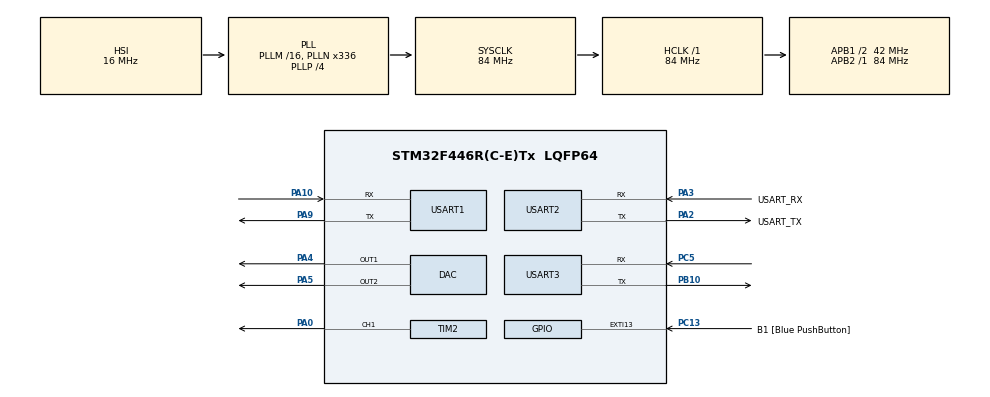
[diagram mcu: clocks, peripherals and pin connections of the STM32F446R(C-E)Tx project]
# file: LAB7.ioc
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DAC.DAC_Trigger=DAC_TRIGGER_T6_TRGO
DAC.DAC_Trigger2=DAC_TRIGGER_T7_TRGO
DAC.WaveGeneration=DISABLE
Dma.DAC1.0.Direction=DMA_MEMORY_TO_PERIPH
Dma.DAC1.0.FIFOMode=DMA_FIFOMODE_DISABLE
Dma.DAC1.0.Instance=DMA1_Stream5
Dma.DAC1.0.MemDataAlignment=DMA_MDATAALIGN_WORD
Dma.DAC1.0.MemInc=DMA_MINC_ENABLE
Dma.DAC1.0.Mode=DMA_CIRCULAR
Dma.DAC1.0.PeriphDataAlignment=DMA_PDATAALIGN_WORD
Dma.DAC1.0.PeriphInc=DMA_PINC_DISABLE
Dma.DAC1.0.Priority=DMA_PRIORITY_LOW
Dma.DAC2.1.Direction=DMA_MEMORY_TO_PERIPH
Dma.DAC2.1.FIFOMode=DMA_FIFOMODE_DISABLE
Dma.DAC2.1.Instance=DMA1_Stream6
Dma.DAC2.1.MemDataAlignment=DMA_MDATAALIGN_WORD
Dma.DAC2.1.MemInc=DMA_MINC_ENABLE
Dma.DAC2.1.Mode=DMA_CIRCULAR
Dma.DAC2.1.PeriphDataAlignment=DMA_PDATAALIGN_WORD
Dma.DAC2.1.PeriphInc=DMA_PINC_DISABLE
Dma.DAC2.1.Priority=DMA_PRIORITY_LOW
Dma.Request0=DAC1
Dma.Request1=DAC2
Mcu.Family=STM32F4
Mcu.Name=STM32F446R(C-E)Tx
Mcu.Package=LQFP64
NVIC.DMA1_Stream5_IRQn=true\:0\:0\:false\:false\:true\:false\:true\:true
NVIC.DMA1_Stream6_IRQn=true\:0\:0\:false\:false\:true\:false\:true\:true
NVIC.PriorityGroup=NVIC_PRIORITYGROUP_0
NVIC.TIM2_IRQn=true\:0\:0\:false\:false\:true\:true\:true\:true
NVIC.TIM7_IRQn=true\:0\:0\:false\:false\:true\:true\:true\:true
NVIC.USART1_IRQn=true\:0\:0\:false\:false\:true\:true\:true\:true
NVIC.USART2_IRQn=true\:0\:0\:false\:false\:true\:true\:true\:true
PA0-WKUP.Signal=S_TIM2_CH1_ETR
PA10.Mode=Asynchronous
PA10.Signal=USART1_RX
PA13.GPIO_Label=TMS
PA13.Mode=Serial_Wire
PA13.Signal=SYS_JTMS-SWDIO
PA14.GPIO_Label=TCK
PA14.Mode=Serial_Wire
PA14.Signal=SYS_JTCK-SWCLK
PA2.GPIO_Label=USART_TX
PA2.Mode=Asynchronous
PA2.Signal=USART2_TX
PA3.GPIO_Label=USART_RX
PA3.Mode=Asynchronous
PA3.Signal=USART2_RX
PA4.Signal=COMP_DAC1_group
PA5.Signal=COMP_DAC2_group
PA9.Mode=Asynchronous
PA9.Signal=USART1_TX
PB10.Mode=Asynchronous
PB10.Signal=USART3_TX
PB3.GPIO_Label=SWO
PB3.Signal=SYS_JTDO-SWO
PC13.GPIO_Label=B1 [Blue PushButton]
PC13.GPIO_ModeDefaultEXTI=GPIO_MODE_IT_FALLING
PC13.Signal=GPXTI13
PC14-OSC32_IN.Mode=LSE-External-Oscillator
PC14-OSC32_IN.Signal=RCC_OSC32_IN
PC15-OSC32_OUT.Mode=LSE-External-Oscillator
PC15-OSC32_OUT.Signal=RCC_OSC32_OUT
PC5.Mode=Asynchronous
PC5.Signal=USART3_RX
PH0-OSC_IN.Mode=HSE-External-Oscillator
PH0-OSC_IN.Signal=RCC_OSC_IN
PH1-OSC_OUT.Mode=HSE-External-Oscillator
PH1-OSC_OUT.Signal=RCC_OSC_OUT
ProjectManager.HeapSize=0x200
ProjectManager.StackSize=0x400
ProjectManager.TargetToolchain=STM32CubeIDE
RCC.48MHZClocksFreq_Value=84000000
RCC.AHBFreq_Value=84000000
RCC.APB1CLKDivider=RCC_HCLK_DIV2
RCC.APB1Freq_Value=42000000
RCC.APB1TimFreq_Value=84000000
RCC.APB2Freq_Value=84000000
RCC.APB2TimFreq_Value=84000000
RCC.CortexFreq_Value=84000000
RCC.FLatency-AdvancedSettings=FLASH_LATENCY_2
RCC.HCLKFreq_Value=84000000
RCC.HSE_VALUE=8000000
RCC.HSI_VALUE=16000000
RCC.PLLN=336
RCC.PLLP=RCC_PLLP_DIV4
RCC.SYSCLKFreq_VALUE=84000000
RCC.SYSCLKSource=RCC_SYSCLKSOURCE_PLLCLK
RCC.USBFreq_Value=168000000
RCC.VCOOutputFreq_Value=336000000
SH.COMP_DAC1_group.0=DAC_OUT1,DAC_OUT1
SH.COMP_DAC2_group.0=DAC_OUT2,DAC_OUT2
SH.S_TIM2_CH1_ETR.0=TIM2_CH1,PWM Generation1 CH1
TIM2.Channel-PWM\ Generation1\ CH1=TIM_CHANNEL_1
TIM2.Period=100
TIM2.Pulse-PWM\ Generation1\ CH1=50
TIM6.Period=99
TIM6.Prescaler=0
TIM6.TIM_MasterOutputTrigger=TIM_TRGO_UPDATE
TIM7.Period=99
TIM7.TIM_MasterOutputTrigger=TIM_TRGO_UPDATE
USART1.VirtualMode=VM_ASYNC
USART2.VirtualMode=VM_ASYNC
USART3.VirtualMode=VM_ASYNC
VP_TIM2_VS_ClockSourceINT.Mode=Internal
VP_TIM6_VS_ClockSourceINT.Mode=Enable_Timer
VP_TIM7_VS_ClockSourceINT.Mode=Enable_Timer
board=NUCLEO-F446RE

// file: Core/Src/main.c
/* USER CODE BEGIN Header */
/**
  ******************************************************************************
  * @file           : main.c
  * @brief          : Main program body
  ******************************************************************************
  * @attention
  *
  * Copyright (c) 2026 STMicroelectronics.
  * All rights reserved.
  *
  * This software is licensed under terms that can be found in the LICENSE file
  * in the root directory of this software component.
  * If no LICENSE file comes with this software, it is provided AS-IS.
  *
  ******************************************************************************
  */
/* USER CODE END Header */
#include "main.h"

/* USER CODE BEGIN Includes */
#include <stdio.h>
#include <string.h>
#include <math.h>
#include <stdlib.h>
#include "Notes.h"
/* USER CODE END Includes */

/* USER CODE BEGIN PD */
#define size 128
#define pi 3.1415926
#define TIM_FREQ 84000000
/* USER CODE END PD */

DAC_HandleTypeDef hdac;
DMA_HandleTypeDef hdma_dac1;
DMA_HandleTypeDef hdma_dac2;

TIM_HandleTypeDef htim2;
TIM_HandleTypeDef htim6;
TIM_HandleTypeDef htim7;

UART_HandleTypeDef huart1;
UART_HandleTypeDef huart2;
UART_HandleTypeDef huart3;

/* USER CODE BEGIN PV */
//Variables de comunicacion
uint8_t rxByte1;
uint8_t rxIndex1 = 0;
uint8_t buffer1[20];

// Variable global — inicializar en 8 igual que nivelR
volatile uint8_t nivelR= 8;
volatile uint8_t nivelAnterior = 8;  // ← sacar del callback, hacerla global
uint8_t doLoading = 0;
uint8_t moveR = 0;
char eventR = 'N';
char skinR = 'S';

uint8_t newSonicData = 0;

//Variables de comunicacion

uint8_t rxData;
uint32_t Ysine[size];
uint32_t Ysilencio[size];
uint32_t Ysine_scaled[size];
uint16_t Ynoise[size];

//FUnciones de canciones no bloqueantes.
// --- Motor de canción BG no bloqueante (DAC_CHANNEL_1) ---
uint32_t *song_notes    = NULL;
uint16_t *song_duration = NULL;
uint16_t  song_size     = 0;
uint16_t  song_index    = 0;
uint32_t  note_tick     = 0;
uint32_t  note_ticks_on = 0;
uint32_t  note_ticks_off= 0;
uint8_t   note_phase    = 0;
uint8_t   song_playing  = 0;
uint8_t   song_slot     = 0;

/*
// --- Motor FX no bloqueante (DAC_CHANNEL_2) ---
// Motor FX no bloqueante con SysTick
uint32_t fx_last_tick = 0;   // timestamp HAL_GetTick() del último evento FX
uint32_t  fx_tick       = 0;
uint32_t  fx_ticks_on   = 0;
uint32_t  fx_ticks_off  = 0;
uint8_t   fx_phase      = 0;   // 0=nota, 1=silencio
uint8_t   fx_playing    = 0;
uint16_t  fx_index      = 0;
uint16_t  fx_size       = 0;
uint32_t *fx_notes      = NULL;
uint16_t *fx_duration   = NULL;

// Flag para efectos de un solo disparo (sweep/noise)
uint8_t   fx_event      = 0;   // 0=nada, 1=StarPower, 2=footstep, etc.
*/

/* USER CODE END PV */

void SystemClock_Config(void);
static void MX_GPIO_Init(void);
static void MX_DMA_Init(void);
static void MX_USART2_UART_Init(void);
static void MX_TIM2_Init(void);
static void MX_DAC_Init(void);
static void MX_TIM6_Init(void);
static void MX_USART1_UART_Init(void);
static void MX_TIM7_Init(void);
static void MX_USART3_UART_Init(void);
/* USER CODE BEGIN PFP */
void playNotePWM(uint16_t psc);
void playMario();
void generarSin();
void playToneDAC(uint32_t ARR, uint8_t SDac);
void playSon(uint32_t cancion[], uint16_t duracion[], uint16_t sizeM);
void setAmplitude(float gain);
void swordSlash(uint32_t frequencyI, uint32_t frequencyF,uint8_t sweepA,uint8_t sweepD);
void unsheath();
void StarPower();
void impact();
void generateNoise();
void loading_soft();
void loading_tick_progressive();
void loading_tick_pro();
void loading_tick_complete();
void loading_brbr();
void footstep();
void blockHit(void);
void Song_Start(uint32_t *notes, uint16_t *duration, uint16_t sizeO);
void Song_Stop(void);
/* USER CODE END PFP */

/* USER CODE BEGIN 0 */
void generarSin(){
    for (int x = 0; x < size; x++){
    	Ysine[x] = (uint32_t)(2048+2047 * sin(2.0 * pi * x / size));
    	Ysilencio[x] = 0;
    }
}

void generateNoise()
{
    for(int i = 0; i < size; i++)
    {
        Ynoise[i] = rand() % 4096; // DAC 12 bits
    }
}

// Corrección — silencio real:
void playToneDAC(uint32_t ARR, uint8_t sDac)
{

	if (sDac==1){
	    if(ARR == 0)
	    {
	        HAL_TIM_Base_Stop(&htim6);
	        HAL_DAC_Stop_DMA(&hdac, DAC_CHANNEL_1);

	        __HAL_TIM_SET_AUTORELOAD(&htim6, 99);
	        __HAL_TIM_SET_COUNTER(&htim6, 0);
	        HAL_TIM_Base_Start(&htim6);
	        HAL_DAC_Start_DMA(&hdac, DAC_CHANNEL_1,
	                          (uint32_t*)Ysilencio, size, DAC_ALIGN_12B_R);
	        HAL_DAC_Start_DMA(&hdac, DAC_CHANNEL_1,
                    (uint32_t*)Ysilencio, size, DAC_ALIGN_12B_R);

	        return;
	    }

	    HAL_TIM_Base_Stop(&htim6);
	    HAL_DAC_Stop_DMA(&hdac, DAC_CHANNEL_1);

	    __HAL_TIM_SET_AUTORELOAD(&htim6, ARR);
	    __HAL_TIM_SET_COUNTER(&htim6, 0);

	    HAL_TIM_Base_Start(&htim6);
	    HAL_DAC_Start_DMA(&hdac, DAC_CHANNEL_1,
	                      (uint32_t*)Ysine, size, DAC_ALIGN_12B_R);
	}
	else if (sDac==2){
	    if(ARR == 0)
	    {
	        HAL_TIM_Base_Stop(&htim7);
	        HAL_DAC_Stop_DMA(&hdac, DAC_CHANNEL_2);

	        __HAL_TIM_SET_AUTORELOAD(&htim7, 99);
	        __HAL_TIM_SET_COUNTER(&htim7, 0);
	        HAL_TIM_Base_Start(&htim7);
	        HAL_DAC_Start_DMA(&hdac, DAC_CHANNEL_2,
	                          (uint32_t*)Ysilencio, size, DAC_ALIGN_12B_R);
	        return;
	    }

	    HAL_TIM_Base_Stop(&htim7);
	    HAL_DAC_Stop_DMA(&hdac, DAC_CHANNEL_2);

	    __HAL_TIM_SET_AUTORELOAD(&htim7, ARR);
	    __HAL_TIM_SET_COUNTER(&htim7, 0);

	    HAL_TIM_Base_Start(&htim7);
	    HAL_DAC_Start_DMA(&hdac, DAC_CHANNEL_2,
	                      (uint32_t*)Ysine, size, DAC_ALIGN_12B_R);
	}
}

void playSon(uint32_t cancion[], uint16_t duracion[], uint16_t sizeM)
{
    // Arrancar con silencio inicialmente
    playToneDAC(0, 1);

    for(int i = 0; i < sizeM; i++)
    {
        uint16_t dur_nota     = duracion[i] * 90 / 100UL;
        uint16_t dur_silencio = duracion[i] * 10 / 100UL;
        if(dur_silencio < 25) dur_silencio = 25;

        // Tocar nota
        playToneDAC(cancion[i],1);
        HAL_Delay(dur_nota);

        // Silencio entre notas con tabla plana
        playToneDAC(0,1);
        HAL_Delay(dur_silencio);
    }

    // Al final dejar en silencio
    playToneDAC(0,1);
}

void setAmplitude(float gain)
{
    for(int i = 0; i < size; i++)
    {
        Ysine_scaled[i] = Ysine[i] * gain;
    }
}

void swordSlash(uint32_t frequencyI, uint32_t frequencyF,uint8_t sweepA,uint8_t sweepD)
{
    for(uint32_t arr = frequencyI; arr < frequencyF; arr += sweepA)
    {
    	float gain = (float)(arr - frequencyI) / 2200.0f; // ataque
		setAmplitude(gain);
		playToneDAC(arr,2);
		HAL_Delay(2);
    }

    for(uint32_t arr = frequencyF; arr > frequencyI; arr -= sweepD)
    {
    	float gain = (float)(arr - frequencyI) / 2500.0f; // decay
		setAmplitude(gain);
		playToneDAC(arr,2);
		HAL_Delay(2);
    }

    playToneDAC(0,2); // silencio
}

void unsheath()
{
    for(uint32_t arr = 3000; arr > 500; arr -= 100)
    {
        playToneDAC(arr,2);
        HAL_Delay(2);
    }

    for(uint32_t arr = 500; arr < 1500; arr += 30)
    {
        playToneDAC(arr,2);
        HAL_Delay(3);
    }

    playToneDAC(0,2);
}

void StarPower()
{
    /*playToneDAC(2000);
    HAL_Delay(30);

    playToneDAC(1000);
    HAL_Delay(40);

    playToneDAC(0);*/
	// 1. IMPACTO (golpe inicial)
	for(uint32_t arr = 500; arr < 800; arr += 20)
	{
		playToneDAC(arr,2);
		HAL_Delay(2);
	}

	// 2. CUERPO (peso del pie)
	for(uint32_t arr = 800; arr > 200; arr -= 25)
	{
		playToneDAC(arr,2);
		HAL_Delay(3);
	}

	// 3. FRICCIÓN (ruido)
	generateNoise(); // tu función de ruido
	HAL_DAC_Stop_DMA(&hdac, DAC_CHANNEL_1);

	HAL_DAC_Start_DMA(&hdac, DAC_CHANNEL_1,
					  (uint32_t*)Ynoise, size, DAC_ALIGN_12B_R);

	HAL_Delay(15);

	playToneDAC(0,2); // silencio
}

void impact()
{
    for(uint32_t arr = 500; arr < 3000; arr += 200)
    {
        playToneDAC(arr,2);
        HAL_Delay(2);
    }

    playToneDAC(0,2);
}

void Disparos()
{
	for(int i = 0; i < 3; i++)
	{
		// sweep
		for(uint32_t arr = 2500; arr > 1000; arr -= 80)
		{
			playToneDAC(arr,2);
			HAL_Delay(5);
		}

		// ruido corto (textura)
		generateNoise();
		HAL_DAC_Start_DMA(&hdac, DAC_CHANNEL_1,
						  (uint32_t*)Ynoise, size, DAC_ALIGN_12B_R);

		HAL_Delay(20);
	}

	playToneDAC(0,2);
}

void loading_tick_progressive()
{
    uint16_t tone = 1200;

    int delay_time = 120; // empieza lento

    for(int i = 0; i < 30; i++)
    {
        playToneDAC(tone,2);
        HAL_Delay(10); // tic corto

        playToneDAC(0,2);
        HAL_Delay(delay_time);

        // acelerar progresivamente
        if(delay_time > 20)
            delay_time -= 3;
    }
}

void loading_tick_pro()
{
    uint32_t base = 900;
    int delay_time = 120;

    for(int i = 0; i < 50; i++)
    {
        uint32_t tone = base + i * 10; // sube tono

        playToneDAC(tone,2);
        HAL_Delay(8);

        playToneDAC(0,2);
        HAL_Delay(delay_time);

        if(delay_time > 10)
            delay_time -= 2;
    }
}

void loading_tick_complete()
{
    loading_tick_pro();

    // sonido final
    playToneDAC(800,2);
    HAL_Delay(100);

    playToneDAC(600,2);
    HAL_Delay(150);

    playToneDAC(0,2);
}

void loading_brbr()
{
    uint32_t tone = 1000;

    for(int i = 0; i < 20; i++)
    {
        // BR
        playToneDAC(tone,2);
        HAL_Delay(20);

        playToneDAC(0,2);
        HAL_Delay(20);

        // BR (segundo pulso)
        playToneDAC(tone,2);
        HAL_Delay(20);

        playToneDAC(0,2);

        // pausa entre grupos
        HAL_Delay(100);
    }
}

void footstep()
{ // 1. IMPACTO — ataque rápido ascendente (golpe del talón)
    for(uint32_t arr = 800; arr < 1400; arr += 60)
    {
        playToneDAC(arr,2);
        HAL_Delay(1);
    }

    // 2. PESO — caída de frecuencia (peso del cuerpo sobre el pie)
    for(uint32_t arr = 1400; arr > 300; arr -= 40)
    {
        playToneDAC(arr,2);
        HAL_Delay(2);
    }

    // 3. TEXTURA — ruido de fricción del suelo
    generateNoise();
    HAL_DAC_Stop_DMA(&hdac, DAC_CHANNEL_1);
    HAL_DAC_Start_DMA(&hdac, DAC_CHANNEL_1,
                      (uint32_t*)Ynoise, size, DAC_ALIGN_12B_R);
    HAL_Delay(20);

    // 4. SILENCIO — separación entre pasos
    playToneDAC(0,2);
    HAL_Delay(180);
}

void blockHit(void)
{
    // 1. IMPACTO — golpe seco descendente
    for(uint32_t arr = ARR_La4; arr < ARR_Re3; arr += 120)
    {
        playToneDAC(arr, 2);
        HAL_Delay(2);
    }

    // 2. REBOTE — sube un poco (sensación de choque)
    for(uint32_t arr = ARR_Re3; arr > ARR_Sol3; arr -= 60)
    {
        playToneDAC(arr, 2);
        HAL_Delay(2);
    }

    // 3. CORTE — silencio brusco tipo arcade
    playToneDAC(0, 2);
    HAL_Delay(20);

    // 4. BUZZ corto — textura de bloque sólido
    for(int i = 0; i < 3; i++)
    {
        playToneDAC(ARR_Do4, 2);
        HAL_Delay(8);
        playToneDAC(0, 2);
        HAL_Delay(8);
    }

    playToneDAC(0, 2);
}

void Song_Start(uint32_t *notes, uint16_t *duration, uint16_t sizeO)
{

    song_notes    = notes;
    song_duration = duration;
    song_size     = sizeO;
    song_index    = 0;
    note_tick     = 0;
    note_phase    = 0;
    song_playing  = 1;

    // Calcular duración primera nota
    uint16_t dur = duration[0];
    note_ticks_on  = dur * 90 / 100;
    note_ticks_off = dur * 10 / 100;
    if (note_ticks_off < 25) note_ticks_off = 25;

    playToneDAC(notes[0],1);

}

void Song_Stop(void)
{
    song_playing = 0;
    song_notes   = NULL;
    playToneDAC(0,1);
}
/*
// --- Tono en DAC_CHANNEL_2 (FX) ---
// Tono en DAC_CHANNEL_2 — TIM7
void playToneDAC_FX(uint32_t ARR)
{
    HAL_DAC_Stop_DMA(&hdac, DAC_CHANNEL_2);
    HAL_TIM_Base_Stop(&htim7);

    if (ARR == 0)
    {
        __HAL_TIM_SET_AUTORELOAD(&htim7, 99);
        __HAL_TIM_SET_COUNTER(&htim7, 0);
        HAL_TIM_Base_Start(&htim7);
        HAL_DAC_Start_DMA(&hdac, DAC_CHANNEL_2,
                          (uint32_t*)Ysilencio, size, DAC_ALIGN_12B_R);
        return;
    }

    __HAL_TIM_SET_AUTORELOAD(&htim7, ARR);
    __HAL_TIM_SET_COUNTER(&htim7, 0);
    HAL_TIM_Base_Start(&htim7);
    HAL_DAC_Start_DMA(&hdac, DAC_CHANNEL_2,
                      (uint32_t*)Ysine, size, DAC_ALIGN_12B_R);
}

// --- Iniciar canción FX no bloqueante en CH2 ---
void FX_Start(uint32_t *notes, uint16_t *duration, uint16_t sizeO)
{
    fx_notes    = notes;
    fx_duration = duration;
    fx_size     = sizeO;
    fx_index    = 0;
    fx_phase    = 0;
    fx_playing  = 1;

    uint16_t dur   = duration[0];
    fx_ticks_on    = dur * 90 / 100;
    fx_ticks_off   = dur * 10 / 100;
    if (fx_ticks_off < 25) fx_ticks_off = 25;

    fx_last_tick = HAL_GetTick();   // anclar timestamp
    playToneDAC_FX(notes[0]);
}

void FX_Stop(void)
{
    fx_playing = 0;
    fx_notes   = NULL;
    playToneDAC_FX(0);
}
*/
/* USER CODE END 0 */

int main(void)
{

  /* MCU Configuration--------------------------------------------------------*/

  /* Reset of all peripherals, Initializes the Flash interface and the Systick. */
  HAL_Init();

  /* Configure the system clock */
  SystemClock_Config();

  /* Initialize all configured peripherals */
  MX_GPIO_Init();
  MX_DMA_Init();
  MX_USART2_UART_Init();
  HAL_UART_Transmit(&huart2, (uint8_t*)"VIVO\r\n", 6, 1000);
  MX_TIM2_Init();
  MX_DAC_Init();
  MX_TIM6_Init();
  MX_USART1_UART_Init();
  MX_TIM7_Init();
  MX_USART3_UART_Init();

  /* USER CODE BEGIN 2 */
  HAL_UART_Transmit(&huart2, (uint8_t*)"VIVO\r\n", 6, 1000);

  generarSin();
  HAL_UART_Transmit(&huart2, (uint8_t*)"SIN OK\r\n", 8, 1000);

  HAL_UART_Receive_IT(&huart1, &rxByte1, 1);
  HAL_UART_Transmit(&huart2, (uint8_t*)"UART1 OK\r\n", 10, 1000);

  /* Loading ANTES de TIM2 para evitar interferencia */
  //loading_tick_complete();
  HAL_UART_Transmit(&huart2, (uint8_t*)"LOADING OK\r\n", 12, 1000);

  /* TIM2 arranca despues del loading */
  HAL_TIM_Base_Start_IT(&htim2);
  HAL_UART_Transmit(&huart2, (uint8_t*)"TIM2 OK\r\n", 9, 1000);

  //Song_Start(mario_notes, mario_duration, mario_size);
  HAL_UART_Transmit(&huart2, (uint8_t*)"SONG OK\r\n", 9, 1000);
  /* USER CODE END 2 */

  /* Infinite loop */
  while (1)
  {

    /* USER CODE BEGIN 3 */
	  /* Cambio de nivel detectado */
	  if (nivelR != nivelAnterior)
	  {
	      /* Detener cancion actual inmediatamente */
	      Song_Stop();
	      HAL_TIM_Base_Stop_IT(&htim2);

	      /* Actualizar nivel */
	      nivelR = nivelAnterior;
	      song_slot = 0;

	      /* Loading tick del nuevo nivel */
	      loading_tick_complete();

	      /* Reactivar timer y arrancar cancion del nuevo nivel */
	      HAL_TIM_Base_Start_IT(&htim2);

	      switch (nivelR)
	      {
	      case 0: Song_Start(mario_notes,          mario_duration,          mario_size);          break;
	      case 1: Song_Start(Overworld_1_notes,    Overworld_1_duration,    Overworld_1_size);    break;
	      case 2: Song_Start(Fantasmic_notes,      Fantasmic_duration,      Fantasmic_size);      break;
	      case 3: Song_Start(Final_Battle_2_notes, Final_Battle_2_duration, Final_Battle_2_size); break;
	      }
	  }

	  /* Efectos de sonido por eventos de jugadores — intactos */
	  if (newSonicData == 1)
	  {
	      newSonicData = 0;

	      if (!song_playing)
	      {
	          song_slot = 0;
	          switch (nivelR)
	          {
	          case 0:
	          case 1: Song_Start(Overworld_1_notes,    Overworld_1_duration,    Overworld_1_size);    break;
	          case 2: Song_Start(Fantasmic_notes,      Fantasmic_duration,      Fantasmic_size);      break;
	          case 3: Song_Start(Final_Battle_2_notes, Final_Battle_2_duration, Final_Battle_2_size); break;
	          }
	      }

	      if (moveR == 1 && eventR != 'K' && skinR == '0')
	      {
	          footstep();
	      }

	      switch (eventR)
	      {
	      case 'C': break;
	      case 'E': break;
	      case 'M':
	          if (skinR == '0')      { HAL_UART_Transmit(&huart1, (uint8_t*)"K\n", 2, 100); }
	          else if (skinR == '1') { HAL_UART_Transmit(&huart3, (uint8_t*)"K\n", 2, 100); }
	          eventR = 'N';
	          break;
	      case 'S': break;
	      case 'L': break;
	      case 'K':
	          blockHit();
	          HAL_UART_Transmit(&huart1, (uint8_t*)"K\n", 2, 100);
	          eventR = 'N';
	          break;
	      case 'N':
	      default: break;
	      }
	  }

	  /* Cancion de fondo termino — arrancar siguiente */
	  if (newSonicData == 2)
	  {
	      newSonicData = 0;
	      song_slot++;

	      switch (nivelR)
	      {
	      case 0: Song_Start(mario_notes, mario_duration, mario_size); break;
	      case 1:
	          switch (song_slot % 3)
	          {
	          case 0: Song_Start(Overworld_1_notes,       Overworld_1_duration,       Overworld_1_size);       break;
	          case 1: Song_Start(labrynth_crystal_notes,  labrynth_crystal_duration,  labrynth_crystal_size);  break;
	          case 2: Song_Start(Electrical_notes,        Electrical_duration,        Electrical_size);        break;
	          }
	          break;
	      case 2:
	          switch (song_slot % 3)
	          {
	          case 0: Song_Start(Fantasmic_notes, Fantasmic_duration, Fantasmic_size); break;
	          case 1: Song_Start(Ganyu_notes,     Ganyu_duration,     Ganyu_size);     break;
	          case 2: Song_Start(LOTR_notes,      LOTR_duration,      LOTR_size);      break;
	          }
	          break;
	      case 3:
	          switch (song_slot % 3)
	          {
	          case 0: Song_Start(Final_Battle_2_notes, Final_Battle_2_duration, Final_Battle_2_size); break;
	          case 1: Song_Start(DuelFates_notes,      DuelFates_duration,      DuelFates_size);      break;
	          case 2: Song_Start(Jurassic_notes,       Jurassic_duration,       Jurassic_size);       break;
	          }
	          break;
	      }
	  }

  }
  /* USER CODE END 3 */
}

void SystemClock_Config(void)
{
  RCC_OscInitTypeDef RCC_OscInitStruct = {0};
  RCC_ClkInitTypeDef RCC_ClkInitStruct = {0};

  /** Configure the main internal regulator output voltage
  */
  __HAL_RCC_PWR_CLK_ENABLE();
  __HAL_PWR_VOLTAGESCALING_CONFIG(PWR_REGULATOR_VOLTAGE_SCALE3);

  /** Initializes the RCC Oscillators according to the specified parameters
  * in the RCC_OscInitTypeDef structure.
  */
  RCC_OscInitStruct.OscillatorType = RCC_OSCILLATORTYPE_HSI;
  RCC_OscInitStruct.HSIState = RCC_HSI_ON;
  RCC_OscInitStruct.HSICalibrationValue = RCC_HSICALIBRATION_DEFAULT;
  RCC_OscInitStruct.PLL.PLLState = RCC_PLL_ON;
  RCC_OscInitStruct.PLL.PLLSource = RCC_PLLSOURCE_HSI;
  RCC_OscInitStruct.PLL.PLLM = 16;
  RCC_OscInitStruct.PLL.PLLN = 336;
  RCC_OscInitStruct.PLL.PLLP = RCC_PLLP_DIV4;
  RCC_OscInitStruct.PLL.PLLQ = 2;
  RCC_OscInitStruct.PLL.PLLR = 2;
  if (HAL_RCC_OscConfig(&RCC_OscInitStruct) != HAL_OK)
  {
    Error_Handler();
  }

  /** Initializes the CPU, AHB and APB buses clocks
  */
  RCC_ClkInitStruct.ClockType = RCC_CLOCKTYPE_HCLK|RCC_CLOCKTYPE_SYSCLK
                              |RCC_CLOCKTYPE_PCLK1|RCC_CLOCKTYPE_PCLK2;
  RCC_ClkInitStruct.SYSCLKSource = RCC_SYSCLKSOURCE_PLLCLK;
  RCC_ClkInitStruct.AHBCLKDivider = RCC_SYSCLK_DIV1;
  RCC_ClkInitStruct.APB1CLKDivider = RCC_HCLK_DIV2;
  RCC_ClkInitStruct.APB2CLKDivider = RCC_HCLK_DIV1;

  if (HAL_RCC_ClockConfig(&RCC_ClkInitStruct, FLASH_LATENCY_2) != HAL_OK)
  {
    Error_Handler();
  }
}

static void MX_DAC_Init(void)
{

  DAC_ChannelConfTypeDef sConfig = {0};

  /** DAC Initialization
  */
  hdac.Instance = DAC;
  if (HAL_DAC_Init(&hdac) != HAL_OK)
  {
    Error_Handler();
  }

  /** DAC channel OUT1 config
  */
  sConfig.DAC_Trigger = DAC_TRIGGER_T6_TRGO;
  sConfig.DAC_OutputBuffer = DAC_OUTPUTBUFFER_ENABLE;
  if (HAL_DAC_ConfigChannel(&hdac, &sConfig, DAC_CHANNEL_1) != HAL_OK)
  {
    Error_Handler();
  }

  /** DAC channel OUT2 config
  */
  sConfig.DAC_Trigger = DAC_TRIGGER_T7_TRGO;
  if (HAL_DAC_ConfigChannel(&hdac, &sConfig, DAC_CHANNEL_2) != HAL_OK)
  {
    Error_Handler();
  }

}

static void MX_TIM2_Init(void)
{
  TIM_ClockConfigTypeDef sClockSourceConfig = {0};
  TIM_MasterConfigTypeDef sMasterConfig = {0};

  htim2.Instance = TIM2;
  /* Prescaler para tick de 1ms con APB1*2 = 84MHz */
  htim2.Init.Prescaler = 83;
  htim2.Init.CounterMode = TIM_COUNTERMODE_UP;
  /* Period para 1ms */
  htim2.Init.Period = 999;
  htim2.Init.ClockDivision = TIM_CLOCKDIVISION_DIV1;
  htim2.Init.AutoReloadPreload = TIM_AUTORELOAD_PRELOAD_DISABLE;
  if (HAL_TIM_Base_Init(&htim2) != HAL_OK)
  {
    Error_Handler();
  }
  /* Fuente interna */
  sClockSourceConfig.ClockSource = TIM_CLOCKSOURCE_INTERNAL;
  if (HAL_TIM_ConfigClockSource(&htim2, &sClockSourceConfig) != HAL_OK)
  {
    Error_Handler();
  }
  sMasterConfig.MasterOutputTrigger = TIM_TRGO_RESET;
  sMasterConfig.MasterSlaveMode = TIM_MASTERSLAVEMODE_DISABLE;
  if (HAL_TIMEx_MasterConfigSynchronization(&htim2, &sMasterConfig) != HAL_OK)
  {
    Error_Handler();
  }
}

static void MX_TIM6_Init(void)
{

  TIM_MasterConfigTypeDef sMasterConfig = {0};

  htim6.Instance = TIM6;
  htim6.Init.Prescaler = 0;
  htim6.Init.CounterMode = TIM_COUNTERMODE_UP;
  htim6.Init.Period = 99;
  htim6.Init.AutoReloadPreload = TIM_AUTORELOAD_PRELOAD_DISABLE;
  if (HAL_TIM_Base_Init(&htim6) != HAL_OK)
  {
    Error_Handler();
  }
  sMasterConfig.MasterOutputTrigger = TIM_TRGO_UPDATE;
  sMasterConfig.MasterSlaveMode = TIM_MASTERSLAVEMODE_DISABLE;
  if (HAL_TIMEx_MasterConfigSynchronization(&htim6, &sMasterConfig) != HAL_OK)
  {
    Error_Handler();
  }

}

static void MX_TIM7_Init(void)
{

  TIM_MasterConfigTypeDef sMasterConfig = {0};

  htim7.Instance = TIM7;
  htim7.Init.Prescaler = 0;
  htim7.Init.CounterMode = TIM_COUNTERMODE_UP;
  htim7.Init.Period = 99;
  htim7.Init.AutoReloadPreload = TIM_AUTORELOAD_PRELOAD_DISABLE;
  if (HAL_TIM_Base_Init(&htim7) != HAL_OK)
  {
    Error_Handler();
  }
  sMasterConfig.MasterOutputTrigger = TIM_TRGO_UPDATE;
  sMasterConfig.MasterSlaveMode = TIM_MASTERSLAVEMODE_DISABLE;
  if (HAL_TIMEx_MasterConfigSynchronization(&htim7, &sMasterConfig) != HAL_OK)
  {
    Error_Handler();
  }

}

static void MX_USART1_UART_Init(void)
{

  huart1.Instance = USART1;
  huart1.Init.BaudRate = 115200;
  huart1.Init.WordLength = UART_WORDLENGTH_8B;
  huart1.Init.StopBits = UART_STOPBITS_1;
  huart1.Init.Parity = UART_PARITY_NONE;
  huart1.Init.Mode = UART_MODE_TX_RX;
  huart1.Init.HwFlowCtl = UART_HWCONTROL_NONE;
  huart1.Init.OverSampling = UART_OVERSAMPLING_16;
  if (HAL_UART_Init(&huart1) != HAL_OK)
  {
    Error_Handler();
  }

}

static void MX_USART2_UART_Init(void)
{

  huart2.Instance = USART2;
  huart2.Init.BaudRate = 115200;
  huart2.Init.WordLength = UART_WORDLENGTH_8B;
  huart2.Init.StopBits = UART_STOPBITS_1;
  huart2.Init.Parity = UART_PARITY_NONE;
  huart2.Init.Mode = UART_MODE_TX_RX;
  huart2.Init.HwFlowCtl = UART_HWCONTROL_NONE;
  huart2.Init.OverSampling = UART_OVERSAMPLING_16;
  if (HAL_UART_Init(&huart2) != HAL_OK)
  {
    Error_Handler();
  }

}

static void MX_USART3_UART_Init(void)
{

  huart3.Instance = USART3;
  huart3.Init.BaudRate = 115200;
  huart3.Init.WordLength = UART_WORDLENGTH_8B;
  huart3.Init.StopBits = UART_STOPBITS_1;
  huart3.Init.Parity = UART_PARITY_NONE;
  huart3.Init.Mode = UART_MODE_TX_RX;
  huart3.Init.HwFlowCtl = UART_HWCONTROL_NONE;
  huart3.Init.OverSampling = UART_OVERSAMPLING_16;
  if (HAL_UART_Init(&huart3) != HAL_OK)
  {
    Error_Handler();
  }

}

static void MX_DMA_Init(void)
{

  /* DMA controller clock enable */
  __HAL_RCC_DMA1_CLK_ENABLE();

  /* DMA interrupt init */
  /* DMA1_Stream5_IRQn interrupt configuration */
  HAL_NVIC_SetPriority(DMA1_Stream5_IRQn, 0, 0);
  HAL_NVIC_EnableIRQ(DMA1_Stream5_IRQn);
  /* DMA1_Stream6_IRQn interrupt configuration */
  HAL_NVIC_SetPriority(DMA1_Stream6_IRQn, 0, 0);
  HAL_NVIC_EnableIRQ(DMA1_Stream6_IRQn);

}

static void MX_GPIO_Init(void)
{
  GPIO_InitTypeDef GPIO_InitStruct = {0};

  /* GPIO Ports Clock Enable */
  __HAL_RCC_GPIOC_CLK_ENABLE();
  __HAL_RCC_GPIOH_CLK_ENABLE();
  __HAL_RCC_GPIOA_CLK_ENABLE();
  __HAL_RCC_GPIOB_CLK_ENABLE();

  /*Configure GPIO pin : B1_Pin */
  GPIO_InitStruct.Pin = B1_Pin;
  GPIO_InitStruct.Mode = GPIO_MODE_IT_FALLING;
  GPIO_InitStruct.Pull = GPIO_NOPULL;
  HAL_GPIO_Init(B1_GPIO_Port, &GPIO_InitStruct);

}

/* USER CODE BEGIN 4 */
void HAL_UART_RxCpltCallback(UART_HandleTypeDef *huart)
{
    if (huart->Instance == USART1)
    {
        if (rxByte1 == '\n')
        {
            buffer1[rxIndex1] = '\0';
            rxIndex1 = 0;

            sscanf((char*)buffer1, "%d,%d,%c,%c",
                   &nivelAnterior, &moveR, &eventR, &skinR);

            newSonicData = 1;
        }
        else
        {
            if (rxIndex1 < sizeof(buffer1) - 1)
                buffer1[rxIndex1++] = rxByte1;
        }
        HAL_UART_Receive_IT(&huart1, &rxByte1, 1);
    }
}

void HAL_TIM_PeriodElapsedCallback(TIM_HandleTypeDef *htim)
{
    if (htim->Instance == TIM2)
    {
    	/*
        // DEBUG TEMPORAL — quitar después de confirmar
        static uint32_t cnt = 0;
        cnt++;
        if (cnt == 1000) {
            HAL_UART_Transmit(&huart2, (uint8_t*)"TIM2 tick OK\r\n", 14, 10);
            cnt = 0;
        }*/

        if (!song_playing || song_notes == NULL) return;

        note_tick++;

        if (note_phase == 0)
        {
            if (note_tick >= note_ticks_on)
            {
                playToneDAC(0, 1);
                note_tick  = 0;
                note_phase = 1;
            }
        }
        else
        {
            if (note_tick >= note_ticks_off)
            {
                note_tick  = 0;
                note_phase = 0;
                song_index++;

                if (song_index >= song_size)
                {
                    song_playing = 0;
                    playToneDAC(0, 1);
                    newSonicData = 2;
                    return;
                }

                uint16_t dur   = song_duration[song_index];
                note_ticks_on  = dur * 90 / 100;
                note_ticks_off = dur * 10 / 100;
                if (note_ticks_off < 25) note_ticks_off = 25;
                playToneDAC(song_notes[song_index], 1);
            }
        }
    }
}
/* USER CODE END 4 */

void Error_Handler(void)
{
  __disable_irq();
  while (1)
  {
  }
}
